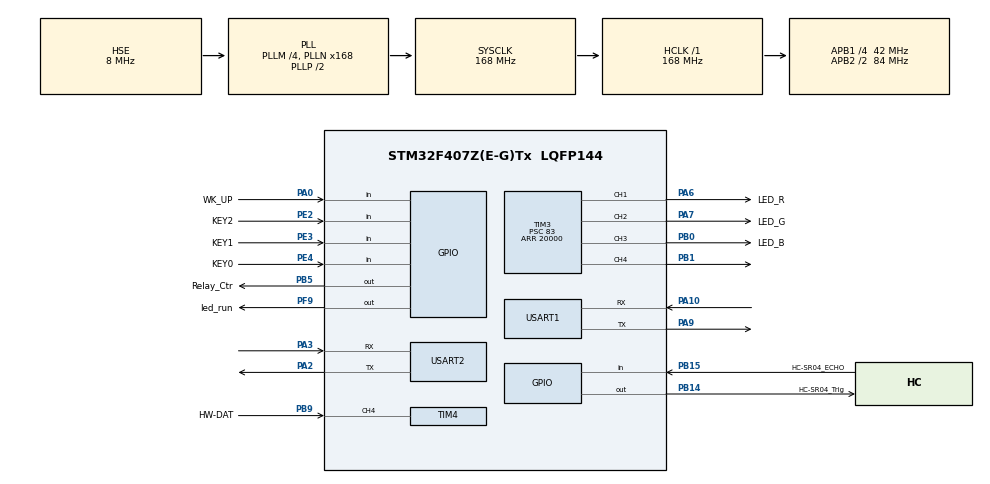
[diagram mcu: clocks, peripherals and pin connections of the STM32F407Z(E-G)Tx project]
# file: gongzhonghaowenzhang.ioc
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Mcu.Family=STM32F4
Mcu.Name=STM32F407Z(E-G)Tx
Mcu.Package=LQFP144
NVIC.PriorityGroup=NVIC_PRIORITYGROUP_4
NVIC.RCC_IRQn=true\:0\:0\:false\:false\:true\:true\:false
NVIC.TIM2_IRQn=true\:0\:0\:false\:false\:true\:true\:true
NVIC.TIM3_IRQn=true\:0\:0\:false\:false\:true\:true\:true
NVIC.TIM4_IRQn=true\:0\:0\:false\:false\:true\:true\:true
NVIC.TIM7_IRQn=true\:0\:0\:false\:false\:true\:true\:true
NVIC.USART1_IRQn=true\:0\:0\:true\:false\:true\:true\:true
NVIC.USART2_IRQn=true\:0\:0\:true\:false\:true\:true\:true
PA0-WKUP.GPIO_Label=WK_UP
PA0-WKUP.GPIO_PuPd=GPIO_PULLDOWN
PA0-WKUP.Signal=GPIO_Input
PA10.Mode=Asynchronous
PA10.Signal=USART1_RX
PA13.Mode=JTAG_5_pins
PA13.Signal=SYS_JTMS-SWDIO
PA14.Mode=JTAG_5_pins
PA14.Signal=SYS_JTCK-SWCLK
PA15.Mode=JTAG_5_pins
PA15.Signal=SYS_JTDI
PA2.Mode=Asynchronous
PA2.Signal=USART2_TX
PA3.Mode=Asynchronous
PA3.Signal=USART2_RX
PA6.GPIO_Label=LED_R
PA6.Signal=S_TIM3_CH1
PA7.GPIO_Label=LED_G
PA7.Signal=S_TIM3_CH2
PA9.Mode=Asynchronous
PA9.Signal=USART1_TX
PB0.GPIO_Label=LED_B
PB0.Signal=S_TIM3_CH3
PB1.Signal=S_TIM3_CH4
PB14.GPIO_Label=HC-SR04_Trig
PB14.GPIO_PuPd=GPIO_PULLDOWN
PB14.GPIO_Speed=GPIO_SPEED_FREQ_HIGH
PB14.PinState=GPIO_PIN_RESET
PB14.Signal=GPIO_Output
PB15.GPIO_Label=HC-SR04_ECHO
PB15.Signal=GPIO_Input
PB3.Mode=JTAG_5_pins
PB3.Signal=SYS_JTDO-SWO
PB4.Mode=JTAG_5_pins
PB4.Signal=SYS_JTRST
PB5.GPIO_Label=Relay_Ctr
PB5.GPIO_PuPd=GPIO_PULLDOWN
PB5.GPIO_Speed=GPIO_SPEED_FREQ_VERY_HIGH
PB5.PinState=GPIO_PIN_RESET
PB5.Signal=GPIO_Output
PB9.GPIO_Label=HW-DAT
PB9.GPIO_PuPd=GPIO_PULLUP
PB9.GPIO_Speed=GPIO_SPEED_FREQ_VERY_HIGH
PB9.Signal=S_TIM4_CH4
PE2.GPIO_Label=KEY2
PE2.GPIO_PuPd=GPIO_PULLUP
PE2.Signal=GPIO_Input
PE3.GPIO_Label=KEY1
PE3.GPIO_PuPd=GPIO_PULLUP
PE3.Signal=GPIO_Input
PE4.GPIO_Label=KEY0
PE4.GPIO_PuPd=GPIO_PULLUP
PE4.Signal=GPIO_Input
PF9.GPIO_Label=led_run
PF9.Signal=GPIO_Output
PH0-OSC_IN.Mode=HSE-External-Oscillator
PH0-OSC_IN.Signal=RCC_OSC_IN
PH1-OSC_OUT.Mode=HSE-External-Oscillator
PH1-OSC_OUT.Signal=RCC_OSC_OUT
ProjectManager.HeapSize=0x200
ProjectManager.StackSize=0x400
ProjectManager.TargetToolchain=MDK-ARM V5
RCC.48MHZClocksFreq_Value=84000000
RCC.AHBFreq_Value=168000000
RCC.APB1CLKDivider=RCC_HCLK_DIV4
RCC.APB1Freq_Value=42000000
RCC.APB1TimFreq_Value=84000000
RCC.APB2CLKDivider=RCC_HCLK_DIV2
RCC.APB2Freq_Value=84000000
RCC.APB2TimFreq_Value=168000000
RCC.CortexFreq_Value=168000000
RCC.HCLKFreq_Value=168000000
RCC.HSE_VALUE=8000000
RCC.HSI_VALUE=16000000
RCC.LSE_VALUE=32768
RCC.PLLM=4
RCC.PLLN=168
RCC.PLLSourceVirtual=RCC_PLLSOURCE_HSE
RCC.SYSCLKFreq_VALUE=168000000
RCC.SYSCLKSource=RCC_SYSCLKSOURCE_PLLCLK
RCC.VCOOutputFreq_Value=336000000
SH.S_TIM3_CH1.0=TIM3_CH1,PWM Generation1 CH1
SH.S_TIM3_CH2.0=TIM3_CH2,PWM Generation2 CH2
SH.S_TIM3_CH3.0=TIM3_CH3,PWM Generation3 CH3
SH.S_TIM3_CH4.0=TIM3_CH4,PWM Generation4 CH4
SH.S_TIM4_CH4.0=TIM4_CH4,Input_Capture4_from_TI4
TIM2.CounterMode=TIM_COUNTERMODE_UP
TIM2.Period=65535
TIM2.Prescaler=84-1
TIM3.Channel-PWM\ Generation1\ CH1=TIM_CHANNEL_1
TIM3.Channel-PWM\ Generation2\ CH2=TIM_CHANNEL_2
TIM3.Channel-PWM\ Generation3\ CH3=TIM_CHANNEL_3
TIM3.Channel-PWM\ Generation4\ CH4=TIM_CHANNEL_4
TIM3.Period=20000
TIM3.Prescaler=83
TIM4.Channel-Input_Capture4_from_TI4=TIM_CHANNEL_4
TIM4.Period=10000
TIM4.Prescaler=83
TIM7.Period=10
TIM7.Prescaler=8399
USART1.VirtualMode=VM_ASYNC
USART2.VirtualMode=VM_ASYNC
VP_TIM2_VS_ClockSourceINT.Mode=Internal
VP_TIM3_VS_ClockSourceINT.Mode=Internal
VP_TIM4_VS_ClockSourceINT.Mode=Internal
VP_TIM7_VS_ClockSourceINT.Mode=Enable_Timer
board=custom

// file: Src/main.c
/* USER CODE BEGIN Header */
/**
  ******************************************************************************
  * @file           : main.c
  * @brief          : Main program body
  ******************************************************************************
  ** This notice applies to any and all portions of this file
  * that are not between comment pairs USER CODE BEGIN and
  * USER CODE END. Other portions of this file, whether
  * inserted by the user or by software development tools
  * are owned by their respective copyright owners.
  *
  * COPYRIGHT(c) 2021 STMicroelectronics
  *
  * Redistribution and use in source and binary forms, with or without modification,
  * are permitted provided that the following conditions are met:
  *   1. Redistributions of source code must retain the above copyright notice,
  *      this list of conditions and the following disclaimer.
  *   2. Redistributions in binary form must reproduce the above copyright notice,
  *      this list of conditions and the following disclaimer in the documentation
  *      and/or other materials provided with the distribution.
  *   3. Neither the name of STMicroelectronics nor the names of its contributors
  *      may be used to endorse or promote products derived from this software
  *      without specific prior written permission.
  *
  * THIS SOFTWARE IS PROVIDED BY THE COPYRIGHT HOLDERS AND CONTRIBUTORS "AS IS"
  * AND ANY EXPRESS OR IMPLIED WARRANTIES, INCLUDING, BUT NOT LIMITED TO, THE
  * IMPLIED WARRANTIES OF MERCHANTABILITY AND FITNESS FOR A PARTICULAR PURPOSE ARE
  * DISCLAIMED. IN NO EVENT SHALL THE COPYRIGHT HOLDER OR CONTRIBUTORS BE LIABLE
  * FOR ANY DIRECT, INDIRECT, INCIDENTAL, SPECIAL, EXEMPLARY, OR CONSEQUENTIAL
  * DAMAGES (INCLUDING, BUT NOT LIMITED TO, PROCUREMENT OF SUBSTITUTE GOODS OR
  * SERVICES; LOSS OF USE, DATA, OR PROFITS; OR BUSINESS INTERRUPTION) HOWEVER
  * CAUSED AND ON ANY THEORY OF LIABILITY, WHETHER IN CONTRACT, STRICT LIABILITY,
  * OR TORT (INCLUDING NEGLIGENCE OR OTHERWISE) ARISING IN ANY WAY OUT OF THE USE
  * OF THIS SOFTWARE, EVEN IF ADVISED OF THE POSSIBILITY OF SUCH DAMAGE.
  *
  ******************************************************************************
  */
/* USER CODE END Header */
#include "main.h"
#include "tim.h"
#include "usart.h"
#include "gpio.h"

/* USER CODE BEGIN Includes */
#include "user_key.h"
#include "user_delay.h"
#include "hcsr04.h"
#include "HLINK_voice.h"
#include "common_interrupt.h"
#include "HW_Remote.h"
#include "stdio.h"
#include "string.h"
/* USER CODE END Includes */

void SystemClock_Config(void);

int main(void)
{
  /* USER CODE BEGIN 1 */
	uint8_t key = 0,t=0,HW_KeyValue = 0;
	float distant = 0;
	int val = 0;
	char *keystr = NULL;
  /* USER CODE END 1 */

  /* MCU Configuration--------------------------------------------------------*/

  /* Reset of all peripherals, Initializes the Flash interface and the Systick. */
  HAL_Init();

  /* Configure the system clock */
  SystemClock_Config();

  /* Initialize all configured peripherals */
  MX_GPIO_Init();
  MX_USART2_UART_Init();
  MX_TIM3_Init();
  MX_USART1_UART_Init();
  MX_TIM2_Init();
  MX_TIM7_Init();
  MX_TIM4_Init();
  /* USER CODE BEGIN 2 */
  HAL_Delay_us_init(168);
  HCSR_TRIG_LOW();
  HAL_GPIO_WritePin(Relay_Ctr_GPIO_Port, Relay_Ctr_Pin, GPIO_PIN_RESET);
  Voice_RecUartInit();
  HAL_TIM_Base_Start(&htim3);
//  HAL_TIM_PWM_Start(&htim3,TIM_CHANNEL_1);
  HAL_TIM_PWM_Start(&htim3,TIM_CHANNEL_3);
//  HAL_TIM_PWM_Start(&htim3,TIM_CHANNEL_2);
	RemoteInit();

  /* USER CODE END 2 */

  /* Infinite loop */
  while (1)
  {

    /* USER CODE BEGIN 3 */

		/*********************************************
		//以下是超声波测试代码
		**********************************************/
		//distant =  Distance(5);
		/**********************************************/

		/*********************************************
		//以下是按键控制舵机测试代码
		**********************************************/
		key=KEY_Scan(0);
		switch (key)
		{
			case WKUP_PRES:			//
				PWM_Output(4,1);
				printf("rotate -90度\r\n");
				break;
			case KEY2_PRES:			//
				PWM_Output(4,2);
				printf("rotate -45度\r\n");

				break;
			case KEY1_PRES:			//
				PWM_Output(4,4);
				printf("rotate 45度\r\n");
				break;
			case KEY0_PRES:			//
				PWM_Output(4,5);
				printf("rotate 90度\r\n");
				break;
		}
		t++;
		if(t%50==0)
		{
			t=0;
			//printf("\r\n\r\n---------------start--------------------\r\n\r\n");
			//printf("The Mesure Distant is:%.2f cm\r\n",distant);
			//printf("\r\n\r\n----------------stop--------------------\r\n\r\n");
			HAL_GPIO_TogglePin(led_run_GPIO_Port,led_run_Pin);
		}
		/**********************************************/

		/*********************************************
		//以下是离线语音控制测试代码
		**********************************************/
		//Voice_DataFrame();
		/*********************************************

		//以下是红外控制舵机测试代码
		**********************************************/
		HW_KeyValue=Remote_Scan();

		if(HW_KeyValue)
		{
			keystr = KeyValueConvert(HW_KeyValue);

			if(!memcmp(keystr,"*",strlen("*")))
			{
				PWM_Stop();
				printf("\r\nrotate stop\r\n");
			}
			else if(!memcmp(keystr,"UP",strlen("UP")))
			{
				PWM_Output(1,0);
				PWM_Output(2,0);
				PWM_Output(3,0);
				PWM_Output(4,0);
				printf("\r\nrotate 45度\r\n");
			}
			else if(!memcmp(keystr,"RIGHT",strlen("RIGHT")))
			{
				PWM_Output(1,45);
				PWM_Output(2,45);
				PWM_Output(3,45);
				PWM_Output(4,45);
				printf("\r\nrotate 90度\r\n");
			}
			else if(!memcmp(keystr,"DOWN",strlen("DOWN")))
			{
				PWM_Output(1,90);
				PWM_Output(2,90);
				PWM_Output(3,90);
				PWM_Output(4,90);
				printf("\r\nrotate -45度\r\n");
			}
			else if(!memcmp(keystr,"LEFT",strlen("LEFT")))
			{
				PWM_Output(1,135);
				PWM_Output(2,135);
				PWM_Output(3,135);
				PWM_Output(4,135);
				printf("\r\nrotate -90度\r\n");
			}
			else if(!memcmp(keystr,"OK",strlen("OK")))
			{
				PWM_Output(1,180);
				PWM_Output(2,180);
				PWM_Output(3,180);
				PWM_Output(4,180);
				printf("\r\nrotate 90度\r\n");
			}
			printf("\r\nThe Key Value is %s \r\n",(char *)(keystr));
		}
		/**********************************************/
		HAL_Delay(10);
  }
  /* USER CODE END 3 */
}

void SystemClock_Config(void)
{
  RCC_OscInitTypeDef RCC_OscInitStruct = {0};
  RCC_ClkInitTypeDef RCC_ClkInitStruct = {0};

  /** Configure the main internal regulator output voltage
  */
  __HAL_RCC_PWR_CLK_ENABLE();
  __HAL_PWR_VOLTAGESCALING_CONFIG(PWR_REGULATOR_VOLTAGE_SCALE1);
  /** Initializes the RCC Oscillators according to the specified parameters
  * in the RCC_OscInitTypeDef structure.
  */
  RCC_OscInitStruct.OscillatorType = RCC_OSCILLATORTYPE_HSE;
  RCC_OscInitStruct.HSEState = RCC_HSE_ON;
  RCC_OscInitStruct.PLL.PLLState = RCC_PLL_ON;
  RCC_OscInitStruct.PLL.PLLSource = RCC_PLLSOURCE_HSE;
  RCC_OscInitStruct.PLL.PLLM = 4;
  RCC_OscInitStruct.PLL.PLLN = 168;
  RCC_OscInitStruct.PLL.PLLP = RCC_PLLP_DIV2;
  RCC_OscInitStruct.PLL.PLLQ = 4;
  if (HAL_RCC_OscConfig(&RCC_OscInitStruct) != HAL_OK)
  {
    Error_Handler();
  }
  /** Initializes the CPU, AHB and APB buses clocks
  */
  RCC_ClkInitStruct.ClockType = RCC_CLOCKTYPE_HCLK|RCC_CLOCKTYPE_SYSCLK
                              |RCC_CLOCKTYPE_PCLK1|RCC_CLOCKTYPE_PCLK2;
  RCC_ClkInitStruct.SYSCLKSource = RCC_SYSCLKSOURCE_PLLCLK;
  RCC_ClkInitStruct.AHBCLKDivider = RCC_SYSCLK_DIV1;
  RCC_ClkInitStruct.APB1CLKDivider = RCC_HCLK_DIV4;
  RCC_ClkInitStruct.APB2CLKDivider = RCC_HCLK_DIV2;

  if (HAL_RCC_ClockConfig(&RCC_ClkInitStruct, FLASH_LATENCY_5) != HAL_OK)
  {
    Error_Handler();
  }
}

void Error_Handler(void)
{
}

/************************ (C) COPYRIGHT STMicroelectronics *****END OF FILE****/
